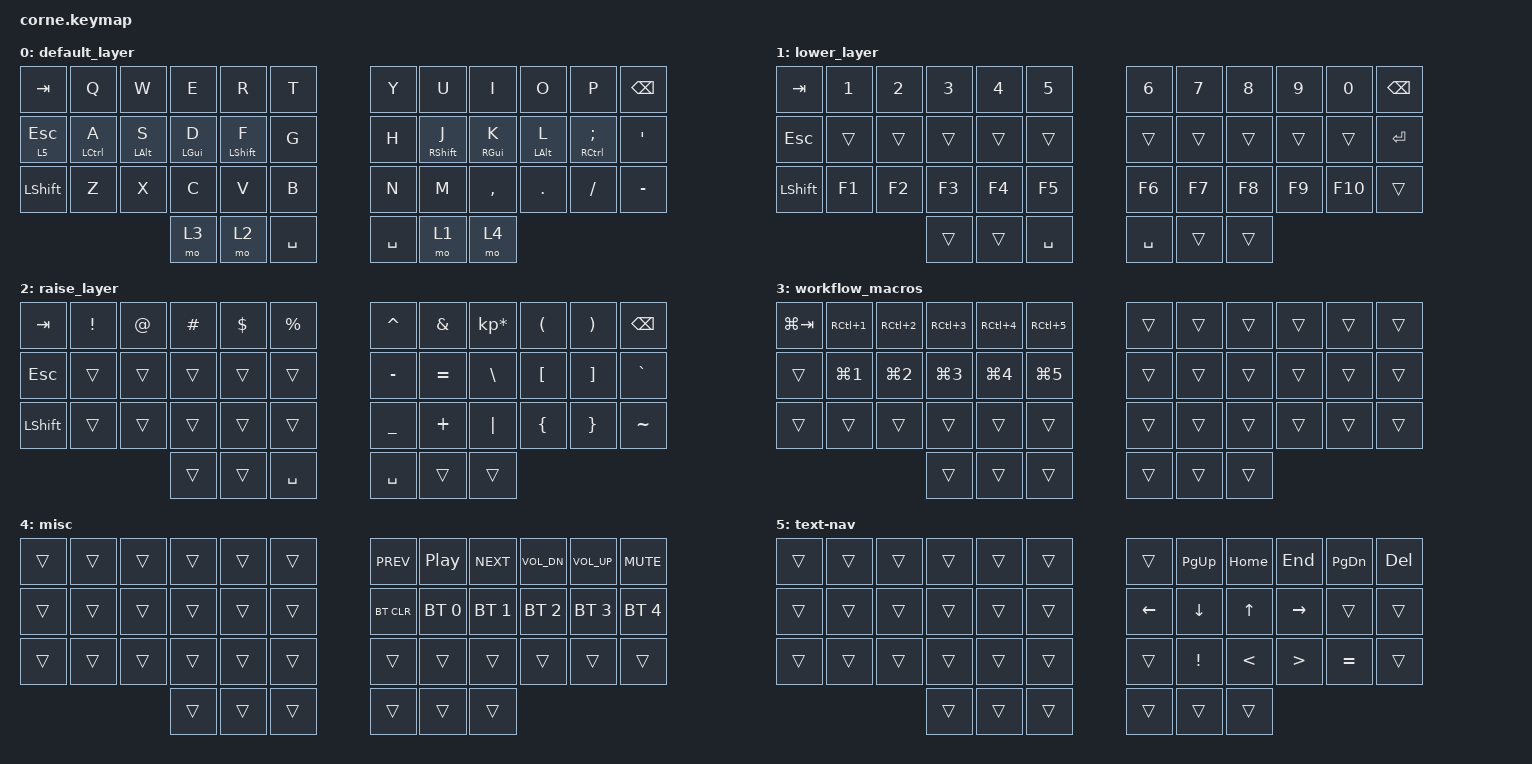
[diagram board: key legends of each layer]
/*
 * Copyright (c) 2020 The ZMK Contributors
 *
 * SPDX-License-Identifier: MIT
 */

#include <behaviors.dtsi>
#include <dt-bindings/zmk/bt.h>
#include <dt-bindings/zmk/keys.h>

/ {
    behaviors {
        hrmr: hrmr {
            compatible = "zmk,behavior-hold-tap";
            label = "HRMR";
            bindings = <&kp>, <&kp>;

            #binding-cells = <2>;
            tapping-term-ms = <200>;
            quick-tap-ms = <175>;
            hold-trigger-key-positions = <0 1 2 3 4 5 12 13 14 15 16 17 24 25 26 27 28 29 36 37 38 39 40 41>;
            hold-trigger-on-release;
            flavor = "balanced";
        };

        hrml: hrml {
            compatible = "zmk,behavior-hold-tap";
            label = "HRML";
            bindings = <&kp>, <&kp>;

            #binding-cells = <2>;
            tapping-term-ms = <200>;
            quick-tap-ms = <175>;
            hold-trigger-key-positions = <6 7 8 9 10 11 18 19 20 21 22 23 30 31 32 33 34 35 39 40 41 36 37 38>;
            flavor = "balanced";
        };
    };

    keymap {
        compatible = "zmk,keymap";

        default_layer {
            // -----------------------------------------------------------------------------------------
            // |  TAB |  Q  |  W  |  E  |  R  |  T  |   |  Y  |  U   |  I  |  O  |  P  | BKSP |
            // | CTRL |  A  |  S  |  D  |  F  |  G  |   |  H  |  J   |  K  |  L  |  ;  |  '   |
            // | SHFT |  Z  |  X  |  C  |  V  |  B  |   |  N  |  M   |  ,  |  .  |  /  | ESC  |
            //                    | GUI | LWR | SPC |   | ENT | RSE  | ALT |

            bindings = <
&kp TAB         &kp Q                 &kp W             &kp E             &kp R               &kp T        &kp Y      &kp U                &kp I              &kp O             &kp P                          &kp BSPC
&lt 5 ESCAPE    &hrml LEFT_CONTROL A  &hrml LEFT_ALT S  &hrml LEFT_GUI D  &hrml LEFT_SHIFT F  &kp G        &kp H      &hrmr RIGHT_SHIFT J  &hrmr RIGHT_GUI K  &hrmr LEFT_ALT L  &hrmr RIGHT_CONTROL SEMICOLON  &kp SQT
&kp LEFT_SHIFT  &kp Z                 &kp X             &kp C             &kp V               &kp B        &kp N      &kp M                &kp COMMA          &kp DOT           &kp FSLH                       &kp MINUS
                                                        &mo 3             &mo 2               &kp SPACE    &kp SPACE  &mo 1                &mo 4
            >;
        };

        lower_layer {
            // -----------------------------------------------------------------------------------------
            // |  TAB |  1  |  2  |  3  |  4  |  5  |   |  6  |  7  |  8  |  9  |  0  | BKSP |
            // | BTCLR| BT1 | BT2 | BT3 | BT4 | BT5 |   | LFT | DWN |  UP | RGT |     |      |
            // | SHFT |     |     |     |     |     |   |     |     |     |     |     |      |
            //                    | GUI |     | SPC |   | ENT |     | ALT |

            bindings = <
&kp TAB     &kp N1  &kp N2  &kp N3  &kp N4  &kp N5       &kp N6     &kp N7  &kp N8  &kp N9  &kp N0   &kp BSPC
&kp ESCAPE  &trans  &trans  &trans  &trans  &trans       &trans     &trans  &trans  &trans  &trans   &kp RETURN
&kp LSHFT   &kp F1  &kp F2  &kp F3  &kp F4  &kp F5       &kp F6     &kp F7  &kp F8  &kp F9  &kp F10  &trans
                            &trans  &trans  &kp SPACE    &kp SPACE  &trans  &trans
            >;
        };

        raise_layer {
            // -----------------------------------------------------------------------------------------
            // |  TAB |  !  |  @  |  #  |  $  |  %  |   |  ^  |  &  |  *  |  (  |  )  | BKSP |
            // | CTRL |     |     |     |     |     |   |  -  |  =  |  [  |  ]  |  \  |  `   |
            // | SHFT |     |     |     |     |     |   |  _  |  +  |  {  |  }  | "|" |  ~   |
            //                    | GUI |     | SPC |   | ENT |     | ALT |

            bindings = <
&kp TAB     &kp EXCL  &kp AT  &kp HASH  &kp DLLR  &kp PRCNT    &kp CARET  &kp AMPS   &kp KP_MULTIPLY  &kp LPAR          &kp RPAR           &kp BSPC
&kp ESCAPE  &trans    &trans  &trans    &trans    &trans       &kp MINUS  &kp EQUAL  &kp BACKSLASH    &kp LEFT_BRACKET  &kp RIGHT_BRACKET  &kp GRAVE
&kp LSHFT   &trans    &trans  &trans    &trans    &trans       &kp UNDER  &kp PLUS   &kp PIPE         &kp LEFT_BRACE    &kp RIGHT_BRACE    &kp TILDE
                              &trans    &trans    &kp SPACE    &kp SPACE  &trans     &trans
            >;
        };

        workflow_macros {
            bindings = <
&kp LG(TAB)  &kp RC(NUMBER_1)  &kp RC(NUMBER_2)  &kp RC(NUMBER_3)  &kp RC(NUMBER_4)  &kp RC(NUMBER_5)    &trans  &trans  &trans  &trans  &trans  &trans
&trans       &kp LG(NUMBER_1)  &kp LG(NUMBER_2)  &kp LG(NUMBER_3)  &kp LG(NUMBER_4)  &kp LG(NUMBER_5)    &trans  &trans  &trans  &trans  &trans  &trans
&trans       &trans            &trans            &trans            &trans            &trans              &trans  &trans  &trans  &trans  &trans  &trans
                                                 &trans            &trans            &trans              &trans  &trans  &trans
            >;
        };

        misc {
            bindings = <
&trans  &trans  &trans  &trans  &trans  &trans    &kp C_PREV  &kp C_PLAY_PAUSE  &kp C_NEXT    &kp C_VOL_DN  &kp C_VOL_UP  &kp C_MUTE
&trans  &trans  &trans  &trans  &trans  &trans    &bt BT_CLR  &bt BT_SEL 0      &bt BT_SEL 1  &bt BT_SEL 2  &bt BT_SEL 3  &bt BT_SEL 4
&trans  &trans  &trans  &trans  &trans  &trans    &trans      &trans            &trans        &trans        &trans        &trans
                        &trans  &trans  &trans    &trans      &trans            &trans
            >;
        };

        text-nav {
            bindings = <
&trans  &trans  &trans  &trans  &trans  &trans    &trans          &kp PAGE_UP      &kp HOME       &kp END           &kp PAGE_DOWN  &kp DELETE
&trans  &trans  &trans  &trans  &trans  &trans    &kp LEFT_ARROW  &kp DOWN_ARROW   &kp UP_ARROW   &kp RIGHT_ARROW   &trans         &trans
&trans  &trans  &trans  &trans  &trans  &trans    &trans          &kp EXCLAMATION  &kp LESS_THAN  &kp GREATER_THAN  &kp EQUAL      &trans
                        &trans  &trans  &trans    &trans          &trans           &trans
            >;
        };
    };
};
